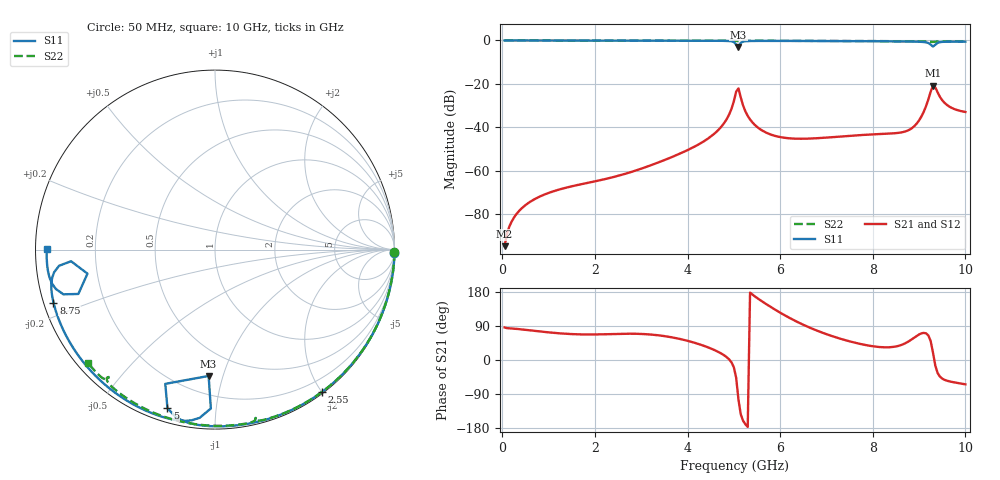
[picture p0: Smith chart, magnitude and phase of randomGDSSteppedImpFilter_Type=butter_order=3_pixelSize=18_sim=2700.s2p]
! freq	dB(S11)	phase(S11)	dB(S12)	phase(S12)
!  dB(S21)	phase(S21)	dB(S22)	phase(S22)
!S-par simulation data
#  GHz  S  DB  R 50
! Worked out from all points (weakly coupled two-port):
!   200 points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, 50 MHz to 10 GHz, reference 50 ohm
!   highest |S21| = -20.90 dB at 9.3 GHz (marker M1); lowest = -94.8 dB at 50 MHz (marker M2)
!   lowest |S11| = -3.0 dB at 5.1 GHz (marker M3), VSWR 5.78, Z = 16 - j44.9 ohm
!   |S11| at or under -10 dB: nowhere
!   |S22| runs from -0.7 to 0.0 dB; largest |S21 - S12| = 0
!   S11 on the Smith chart (normalised r, x): 50 MHz: open; 2.55 GHz: 0.02, -2.00; 5 GHz: 0.06, -0.74; 8.75 GHz: 0.03, -0.16; 10 GHz: 0.03, +0.00
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0.05  -0.00 -1.1  -94.80 85.8  -94.80 85.8  -0.00 -0.8
0.3  -0.00 -6.4  -80.15 82.2  -80.15 82.2  -0.00 -4.8
1.75  -0.05 -36.9  -66.04 67.4  -66.04 67.4  -0.04 -27.6
2.55  -0.07 -53.0  -62.09 69.1  -62.09 69.1  -0.05 -39.9
3.4  -0.09 -69.7  -55.97 64.7  -55.97 64.7  -0.07 -52.6
4.55  -0.14 -91.9  -43.47 27.9  -43.47 27.9  -0.10 -69.2
4.85  -0.22 -99.2  -36.10 7.0  -36.10 7.0  -0.11 -73.5
5  -0.70 -106.7  -28.03 -19.1  -28.03 -19.1  -0.16 -75.9
5.05  -1.96 -110.3  -23.55 -46.8  -23.55 -46.8  -0.24 -76.8
5.1  -3.04 -92.9  -22.09 -104.7  -22.09 -104.7  -0.31 -76.4
5.15  -1.06 -91.5  -26.29 -143.7  -26.29 -143.7  -0.20 -76.8
5.3  -0.28 -99.7  -34.76 -176.6  -34.76 -176.6  -0.14 -79.2
5.55  -0.21 -106.0  -40.63 159.6  -40.63 159.6  -0.14 -82.7
6  -0.21 -114.5  -44.53 124.9  -44.53 124.9  -0.16 -88.7
6.7  -0.25 -126.6  -45.16 82.3  -45.16 82.3  -0.19 -97.9
8.35  -0.40 -154.5  -42.92 33.6  -42.92 33.6  -0.31 -118.7
8.75  -0.47 -161.8  -41.57 47.4  -41.57 47.4  -0.35 -123.6
9.05  -0.64 -168.7  -35.05 70.3  -35.05 70.3  -0.40 -127.5
9.3  -2.82 -169.3  -20.90 19.7  -20.90 19.7  -0.68 -129.8
9.4  -1.10 -163.6  -23.91 -34.3  -23.91 -34.3  -0.48 -130.2
9.6  -0.57 -171.4  -29.69 -54.6  -29.69 -54.6  -0.42 -133.3
10  -0.56 179.8  -32.96 -64.2  -32.96 -64.2  -0.47 -138.4
